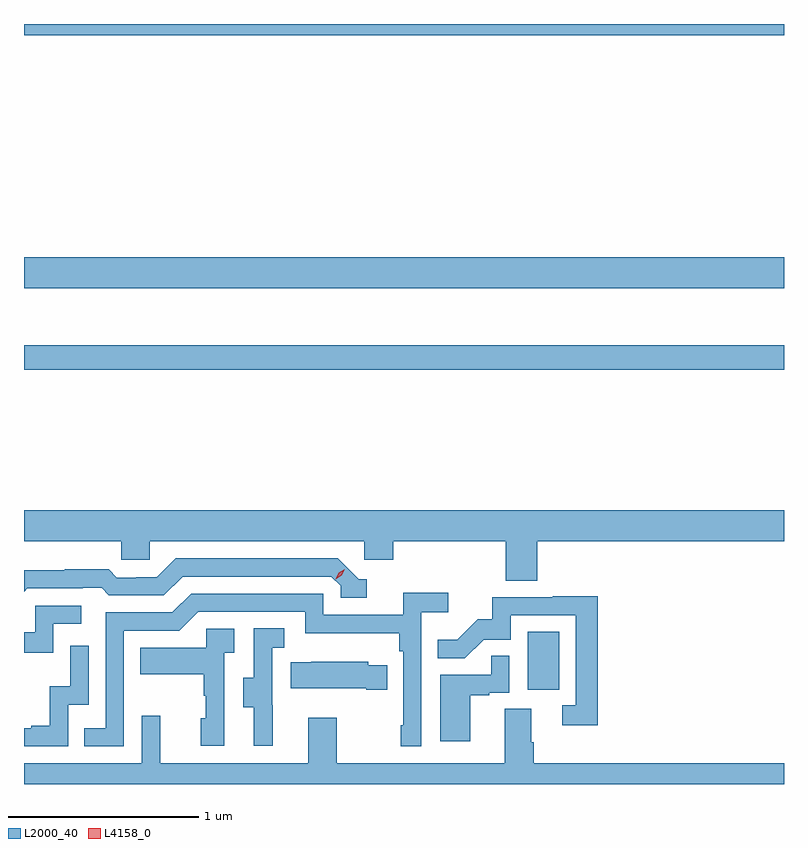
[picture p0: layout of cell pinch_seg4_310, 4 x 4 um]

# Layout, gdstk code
import gdstk
lib = gdstk.Library(unit=1e-6, precision=1e-09)
def R(c, l, rs):  # rectangles x0, y0, x1, y1
    for r in rs: c.add(gdstk.rectangle(r[:2], r[2:], *l))
def P(c, l, *ps):  # polygons
    for p in ps: c.add(gdstk.Polygon(p, *l))
L2000_40 = (2000, 40)
L4158_0 = (4158, 0)

pinch_seg4_310 = lib.new_cell('pinch_seg4_310')
R(pinch_seg4_310, L2000_40, [(940.586,796.038,940.75,796.345), (937.934,797.722,941.934,797.851), (937.934,798.152,941.934,798.316), (937.934,799.484,941.934,799.543)])
P(pinch_seg4_310, L2000_40, [(940.634,796.82),(941.934,796.82),(941.934,796.984),(937.934,796.984),(937.934,796.82),(938.445,796.82),(938.445,796.722),(938.595,796.722),(938.595,796.82),(939.726,796.82),(939.726,796.722),(939.878,796.722),(939.878,796.82),(940.469,796.82),(940.469,796.612),(940.634,796.612)],
  [(939.739,796.62),(939.696,796.62),(939.585,796.731),(938.732,796.731),(938.633,796.632),(938.526,796.632),(938.526,796.629),(938.423,796.629),(938.381,796.672),(938.148,796.672),(938.148,796.669),(937.934,796.669),(937.934,796.556),(937.95,796.572),(938.243,796.572),(938.243,796.575),(938.342,796.575),(938.381,796.536),(938.67,796.536),(938.769,796.635),(939.552,796.635),(939.6,796.587),(939.6,796.524),(939.739,796.524)],
  [(938.46,796.35),(938.751,796.35),(938.85,796.449),(939.414,796.449),(939.414,796.337),(939.91,796.337),(939.91,796.241),(939.93,796.241),(939.93,795.853),(939.918,795.853),(939.918,795.741),(940.026,795.741),(940.026,796.448),(940.168,796.448),(940.168,796.55),(939.929,796.55),(939.929,796.434),(939.51,796.434),(939.51,796.545),(938.813,796.545),(938.714,796.446),(938.364,796.446),(938.364,795.837),(938.251,795.837),(938.251,795.741),(938.46,795.741)],
  [(940.955,796.532),(940.717,796.532),(940.717,796.527),(940.399,796.527),(940.399,796.41),(940.322,796.41),(940.215,796.303),(940.111,796.303),(940.111,796.204),(940.255,796.204),(940.353,796.302),(940.497,796.302),(940.497,796.431),(940.839,796.431),(940.839,795.957),(940.767,795.957),(940.767,795.852),(940.955,795.852)],
  [(938.088,796.386),(938.236,796.386),(938.236,796.482),(937.992,796.482),(937.992,796.341),(937.934,796.341),(937.934,796.233),(938.088,796.233)],
  [(939.242,795.957),(939.24,795.957),(939.24,796.261),(939.304,796.261),(939.304,796.364),(939.144,796.364),(939.144,796.101),(939.089,796.101),(939.089,795.946),(939.143,795.946),(939.143,795.744),(939.242,795.744)],
  [(938.988,796.235),(939.04,796.235),(939.04,796.359),(938.892,796.359),(938.892,796.261),(938.545,796.261),(938.545,796.121),(938.88,796.121),(938.88,796.007),(938.89,796.007),(938.89,795.888),(938.864,795.888),(938.864,795.744),(938.988,795.744)],
  [(938.166,795.96),(938.274,795.96),(938.274,796.27),(938.178,796.27),(938.178,796.058),(938.069,796.058),(938.069,795.85),(937.973,795.85),(937.973,795.837),(937.934,795.837),(937.934,795.741),(938.166,795.741)],
  [(940.282,796.011),(940.382,796.011),(940.382,796.023),(940.488,796.023),(940.488,796.217),(940.393,796.217),(940.393,796.119),(940.124,796.119),(940.124,795.768),(940.282,795.768)],
  [(939.845,796.168),(939.747,796.168),(939.747,796.186),(939.445,796.186),(939.445,796.183),(939.337,796.183),(939.337,796.046),(939.734,796.046),(939.734,796.039),(939.845,796.039)],
  [(941.934,795.652),(940.616,795.652),(940.616,795.764),(940.603,795.764),(940.603,795.938),(940.463,795.938),(940.463,795.652),(939.579,795.652),(939.579,795.892),(939.431,795.892),(939.431,795.652),(938.651,795.652),(938.651,795.901),(938.553,795.901),(938.553,795.652),(937.934,795.652),(937.934,795.543),(941.934,795.543)])
P(pinch_seg4_310, L4158_0, [(939.576,796.621),(939.576,796.622),(939.591,796.654),(939.621,796.674),(939.622,796.674),(939.622,796.674),(939.606,796.641),(939.576,796.621)])

lib.write_gds('pinch_seg4_310.gds')
